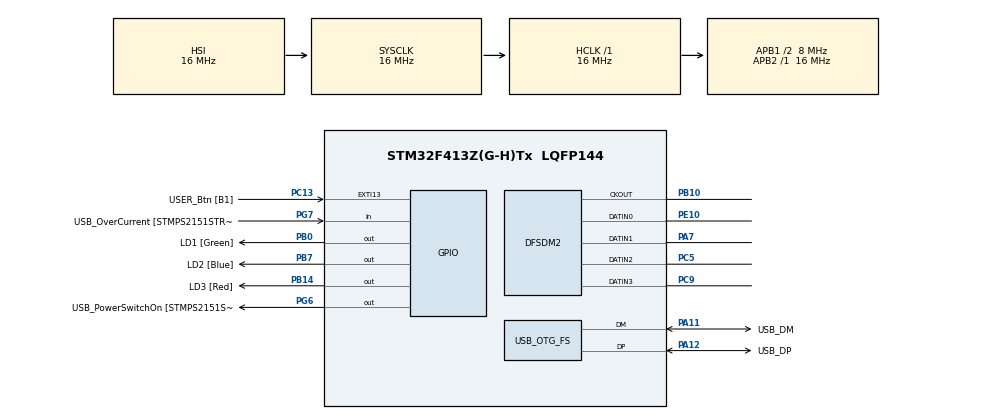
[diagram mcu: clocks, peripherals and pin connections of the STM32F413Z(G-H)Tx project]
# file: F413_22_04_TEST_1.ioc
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DFSDM2.Divider=8
DFSDM2.DmaMode_reg_FIL0=ENABLE
DFSDM2.DmaMode_reg_FIL1=ENABLE
DFSDM2.DmaMode_reg_FIL2=ENABLE
DFSDM2.DmaMode_reg_FIL3=ENABLE
DFSDM2.Filter_regChannel_FIL0=DFSDM_CHANNEL_0
DFSDM2.Filter_regChannel_FIL1=DFSDM_CHANNEL_1
DFSDM2.Filter_regChannel_FIL2=DFSDM_CHANNEL_2
DFSDM2.Filter_regChannel_FIL3=DFSDM_CHANNEL_3
DFSDM2.Fosr_FIL0=32
DFSDM2.Fosr_FIL1=32
DFSDM2.Fosr_FIL2=32
DFSDM2.Fosr_FIL3=32
DFSDM2.SincOrder_FIL0=DFSDM_FILTER_SINC3_ORDER
DFSDM2.SincOrder_FIL1=DFSDM_FILTER_SINC3_ORDER
DFSDM2.SincOrder_FIL2=DFSDM_FILTER_SINC3_ORDER
DFSDM2.SincOrder_FIL3=DFSDM_FILTER_SINC3_ORDER
DFSDM2.Type_spi_CH0=DFSDM_CHANNEL_SPI_FALLING
DFSDM2.Type_spi_CH2=DFSDM_CHANNEL_SPI_FALLING
Dma.DFSDM2_FLT0.0.Direction=DMA_PERIPH_TO_MEMORY
Dma.DFSDM2_FLT0.0.FIFOMode=DMA_FIFOMODE_DISABLE
Dma.DFSDM2_FLT0.0.Instance=DMA2_Stream0
Dma.DFSDM2_FLT0.0.MemDataAlignment=DMA_MDATAALIGN_WORD
Dma.DFSDM2_FLT0.0.MemInc=DMA_MINC_ENABLE
Dma.DFSDM2_FLT0.0.Mode=DMA_CIRCULAR
Dma.DFSDM2_FLT0.0.PeriphDataAlignment=DMA_PDATAALIGN_WORD
Dma.DFSDM2_FLT0.0.PeriphInc=DMA_PINC_DISABLE
Dma.DFSDM2_FLT0.0.Priority=DMA_PRIORITY_LOW
Dma.DFSDM2_FLT1.1.Direction=DMA_PERIPH_TO_MEMORY
Dma.DFSDM2_FLT1.1.FIFOMode=DMA_FIFOMODE_DISABLE
Dma.DFSDM2_FLT1.1.Instance=DMA2_Stream1
Dma.DFSDM2_FLT1.1.MemDataAlignment=DMA_MDATAALIGN_WORD
Dma.DFSDM2_FLT1.1.MemInc=DMA_MINC_ENABLE
Dma.DFSDM2_FLT1.1.Mode=DMA_CIRCULAR
Dma.DFSDM2_FLT1.1.PeriphDataAlignment=DMA_PDATAALIGN_WORD
Dma.DFSDM2_FLT1.1.PeriphInc=DMA_PINC_DISABLE
Dma.DFSDM2_FLT1.1.Priority=DMA_PRIORITY_LOW
Dma.DFSDM2_FLT2.2.Direction=DMA_PERIPH_TO_MEMORY
Dma.DFSDM2_FLT2.2.FIFOMode=DMA_FIFOMODE_DISABLE
Dma.DFSDM2_FLT2.2.Instance=DMA2_Stream2
Dma.DFSDM2_FLT2.2.MemDataAlignment=DMA_MDATAALIGN_WORD
Dma.DFSDM2_FLT2.2.MemInc=DMA_MINC_ENABLE
Dma.DFSDM2_FLT2.2.Mode=DMA_CIRCULAR
Dma.DFSDM2_FLT2.2.PeriphDataAlignment=DMA_PDATAALIGN_WORD
Dma.DFSDM2_FLT2.2.PeriphInc=DMA_PINC_DISABLE
Dma.DFSDM2_FLT2.2.Priority=DMA_PRIORITY_LOW
Dma.DFSDM2_FLT3.3.Direction=DMA_PERIPH_TO_MEMORY
Dma.DFSDM2_FLT3.3.FIFOMode=DMA_FIFOMODE_DISABLE
Dma.DFSDM2_FLT3.3.Instance=DMA2_Stream3
Dma.DFSDM2_FLT3.3.MemDataAlignment=DMA_MDATAALIGN_WORD
Dma.DFSDM2_FLT3.3.MemInc=DMA_MINC_ENABLE
Dma.DFSDM2_FLT3.3.Mode=DMA_CIRCULAR
Dma.DFSDM2_FLT3.3.PeriphDataAlignment=DMA_PDATAALIGN_WORD
Dma.DFSDM2_FLT3.3.PeriphInc=DMA_PINC_DISABLE
Dma.DFSDM2_FLT3.3.Priority=DMA_PRIORITY_LOW
Dma.Request0=DFSDM2_FLT0
Dma.Request1=DFSDM2_FLT1
Dma.Request2=DFSDM2_FLT2
Dma.Request3=DFSDM2_FLT3
Mcu.Family=STM32F4
Mcu.Name=STM32F413Z(G-H)Tx
Mcu.Package=LQFP144
NVIC.DMA2_Stream0_IRQn=true\:0\:0\:false\:false\:true\:false\:true\:true
NVIC.DMA2_Stream1_IRQn=true\:0\:0\:false\:false\:true\:false\:true\:true
NVIC.DMA2_Stream2_IRQn=true\:0\:0\:false\:false\:true\:false\:true\:true
NVIC.DMA2_Stream3_IRQn=true\:0\:0\:false\:false\:true\:false\:true\:true
NVIC.OTG_FS_IRQn=true\:0\:0\:false\:false\:true\:false\:true\:true
NVIC.PriorityGroup=NVIC_PRIORITYGROUP_4
PA10.GPIO_Label=USB_ID
PA10.Signal=USB_OTG_FS_ID
PA11.GPIO_Label=USB_DM
PA11.Mode=Device_Only
PA11.Signal=USB_OTG_FS_DM
PA12.GPIO_Label=USB_DP
PA12.Mode=Device_Only
PA12.Signal=USB_OTG_FS_DP
PA13.GPIO_Label=TMS
PA13.Mode=Trace_Asynchronous_SW
PA13.Signal=SYS_JTMS-SWDIO
PA14.GPIO_Label=TCK
PA14.Mode=Trace_Asynchronous_SW
PA14.Signal=SYS_JTCK-SWCLK
PA7.Signal=S_DATAIN1DFSDM2
PA8.GPIO_Label=USB_SOF [TP1]
PA8.Signal=USB_OTG_FS_SOF
PA9.GPIO_Label=USB_VBUS
PA9.Signal=USB_OTG_FS_VBUS
PB0.GPIO_Label=LD1 [Green]
PB0.Signal=GPIO_Output
PB10.Signal=S_CKOUTDFSDM2
PB14.GPIO_Label=LD3 [Red]
PB14.Signal=GPIO_Output
PB3.GPIO_Label=SWO
PB3.Mode=Trace_Asynchronous_SW
PB3.Signal=SYS_JTDO-SWO
PB7.GPIO_Label=LD2 [Blue]
PB7.Signal=GPIO_Output
PC13.GPIO_Label=USER_Btn [B1]
PC13.Signal=GPXTI13
PC14-OSC32_IN.Signal=RCC_OSC32_IN
PC15-OSC32_OUT.Signal=RCC_OSC32_OUT
PC5.Signal=S_DATAIN2DFSDM2
PC9.Signal=S_DATAIN3DFSDM2
PD8.GPIO_Label=STLK_RX [STM32F103CBT6_PA3]
PD8.Signal=USART3_TX
PD9.GPIO_Label=STLK_TX [STM32F103CBT6_PA2]
PD9.Signal=USART3_RX
PE10.Signal=S_DATAIN0DFSDM2
PG6.GPIO_Label=USB_PowerSwitchOn [STMPS2151STR_EN]
PG6.Signal=GPIO_Output
PG7.GPIO_Label=USB_OverCurrent [STMPS2151STR_FAULT]
PG7.Signal=GPIO_Input
PH0\ -\ OSC_IN.GPIO_Label=MCO
PH0\ -\ OSC_IN.Mode=HSE-External-Clock-Source
PH0\ -\ OSC_IN.Signal=RCC_OSC_IN
PH1\ -\ OSC_OUT.Mode=HSE-External-Clock-Source
PH1\ -\ OSC_OUT.Signal=RCC_OSC_OUT
ProjectManager.HeapSize=0x200
ProjectManager.StackSize=0x400
ProjectManager.TargetToolchain=STM32CubeIDE
RCC.48MHZClocksFreq_Value=24000000
RCC.AHBFreq_Value=16000000
RCC.APB1CLKDivider=RCC_HCLK_DIV2
RCC.APB1Freq_Value=8000000
RCC.APB1TimFreq_Value=16000000
RCC.APB2Freq_Value=16000000
RCC.APB2TimFreq_Value=16000000
RCC.CortexFreq_Value=16000000
RCC.HCLKFreq_Value=16000000
RCC.HSE_VALUE=8000000
RCC.HSI_VALUE=16000000
RCC.PLLM=4
RCC.PLLMUL=RCC_PLL_MUL9
RCC.PLLQ=8
RCC.PRESCALERUSB=RCC_USBCLKSOURCE_PLL_DIV1_5
RCC.SYSCLKFreq_VALUE=16000000
RCC.SYSCLKSourceVirtual=RCC_SYSCLKSOURCE_PLLCLK
RCC.USBFreq_Value=48000000
RCC.VCOOutputFreq_Value=384000000
SH.S_CKOUTDFSDM2.0=DFSDM2_CKOUT,PDM_SPI_input_from_ch0_and_internal_clock
SH.S_CKOUTDFSDM2.1=DFSDM2_CKOUT,PDM_SPI_input_from_ch1_and_internal_clock
SH.S_CKOUTDFSDM2.2=DFSDM2_CKOUT,PDM_SPI_input_from_ch2_and_internal_clock
SH.S_CKOUTDFSDM2.3=DFSDM2_CKOUT,PDM_SPI_input_from_ch3_and_internal_clock
SH.S_CKOUTDFSDM2.4=DFSDM2_CKOUT,CKOUT
SH.S_DATAIN0DFSDM2.0=DFSDM2_DATIN0,PDM_SPI_input_from_ch0_and_internal_clock
SH.S_DATAIN1DFSDM2.0=DFSDM2_DATIN1,PDM_SPI_input_from_ch1_and_internal_clock
SH.S_DATAIN2DFSDM2.0=DFSDM2_DATIN2,PDM_SPI_input_from_ch2_and_internal_clock
SH.S_DATAIN3DFSDM2.0=DFSDM2_DATIN3,PDM_SPI_input_from_ch3_and_internal_clock
USB_DEVICE.CLASS_NAME_FS=CDC
USB_DEVICE.VirtualMode=Cdc
USB_DEVICE.VirtualModeFS=Cdc_FS
USB_OTG_FS.VirtualMode=Device_Only
VP_CRC_VS_CRC.Mode=CRC_Activate
VP_USB_DEVICE_VS_USB_DEVICE_CDC_FS.Mode=CDC_FS
board=NUCLEO-F413ZH

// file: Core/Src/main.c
/* USER CODE BEGIN Header */
/**
  ******************************************************************************
  * @file           : main.c
  * @brief          : Main program body
  ******************************************************************************
  * @attention
  *
  * Copyright (c) 2026 STMicroelectronics.
  * All rights reserved.
  *
  * This software is licensed under terms that can be found in the LICENSE file
  * in the root directory of this software component.
  * If no LICENSE file comes with this software, it is provided AS-IS.
  *
  ******************************************************************************
  */
/* USER CODE END Header */
#include "main.h"
#include "usb_device.h"

/* USER CODE BEGIN Includes */
#include <string.h>
#include "usbd_cdc_if.h"
/* USER CODE END Includes */

CRC_HandleTypeDef hcrc;

DFSDM_Filter_HandleTypeDef hdfsdm2_filter0;
DFSDM_Filter_HandleTypeDef hdfsdm2_filter1;
DFSDM_Filter_HandleTypeDef hdfsdm2_filter2;
DFSDM_Filter_HandleTypeDef hdfsdm2_filter3;
DFSDM_Channel_HandleTypeDef hdfsdm2_channel0;
DFSDM_Channel_HandleTypeDef hdfsdm2_channel1;
DFSDM_Channel_HandleTypeDef hdfsdm2_channel2;
DFSDM_Channel_HandleTypeDef hdfsdm2_channel3;
DMA_HandleTypeDef hdma_dfsdm2_flt0;
DMA_HandleTypeDef hdma_dfsdm2_flt1;
DMA_HandleTypeDef hdma_dfsdm2_flt2;
DMA_HandleTypeDef hdma_dfsdm2_flt3;

/* USER CODE BEGIN PV */
#define PCM_SAMPLES_PER_HALF  16
#define DFSDM_DMA_SAMPLES     (PCM_SAMPLES_PER_HALF * 2) //(PCM_SAMPLES_PER_HALF * 2)
#define USB_SYNC_0            0x5A
#define USB_SYNC_1            0xA5

static int32_t pcm0_dma[DFSDM_DMA_SAMPLES];
static int32_t pcm1_dma[DFSDM_DMA_SAMPLES];
static int32_t pcm2_dma[DFSDM_DMA_SAMPLES];
static int32_t pcm3_dma[DFSDM_DMA_SAMPLES];

static volatile uint8_t flt0_half_ready = 0;
static volatile uint8_t flt0_full_ready = 0;
static volatile uint8_t flt1_half_ready = 0;
static volatile uint8_t flt1_full_ready = 0;
static volatile uint8_t flt2_half_ready = 0;
static volatile uint8_t flt2_full_ready = 0;
static volatile uint8_t flt3_half_ready = 0;
static volatile uint8_t flt3_full_ready = 0;

static uint8_t usb_tx_busy = 0;

/* sync + 16 samples mic0 + 16 samples mic1, interleaved int16 */
static uint8_t usb_frame[2 + PCM_SAMPLES_PER_HALF * 4 * 2]; //usb_frame[2 + PCM_SAMPLES_PER_HALF * 4 * 2];

/* test */
static volatile uint32_t cb_half0 = 0;
static volatile uint32_t cb_full0 = 0;
static volatile uint32_t cb_half1 = 0;
static volatile uint32_t cb_full1 = 0;
static volatile uint32_t cb_half2 = 0;
static volatile uint32_t cb_full2 = 0;
static volatile uint32_t cb_half3 = 0;
static volatile uint32_t cb_full3 = 0;

/* USER CODE END PV */

void SystemClock_Config(void);
static void MX_GPIO_Init(void);
static void MX_DMA_Init(void);
static void MX_CRC_Init(void);
static void MX_DFSDM2_Init(void);
/* USER CODE BEGIN PFP */
static void PackAndSendFrame(uint8_t half_index);
static int16_t DFSDM32_to_PCM16(int32_t x);
/* USER CODE END PFP */

/* USER CODE BEGIN 0 */
static int16_t DFSDM32_to_PCM16(int32_t x)
{
    x >>= 8;

    if (x > 32767)  x = 32767;
    if (x < -32768) x = -32768;
    return (int16_t)x;
}

// used for troubleshooting

static volatile uint32_t usb_ok_cnt = 0;
static volatile uint32_t usb_busy_cnt = 0;
static volatile uint32_t usb_fail_cnt = 0;
static volatile uint8_t last_tx_ret = 0;

static void PackAndSendFrame(uint8_t half_index)
{
    uint32_t start = (half_index == 0) ? 0 : PCM_SAMPLES_PER_HALF;

    usb_frame[0] = USB_SYNC_0;
    usb_frame[1] = USB_SYNC_1;

    uint32_t j = 2;
    for (uint32_t i = 0; i < PCM_SAMPLES_PER_HALF; i++)
    {
        int16_t mic0 = DFSDM32_to_PCM16(pcm0_dma[start + i]);
        int16_t mic1 = DFSDM32_to_PCM16(pcm1_dma[start + i]);
        int16_t mic2 = DFSDM32_to_PCM16(pcm2_dma[start + i]);
        int16_t mic3 = DFSDM32_to_PCM16(pcm3_dma[start + i]);

        usb_frame[j++] = (uint8_t)(mic0 & 0xFF);
        usb_frame[j++] = (uint8_t)((mic0 >> 8) & 0xFF);
        usb_frame[j++] = (uint8_t)(mic1 & 0xFF);
        usb_frame[j++] = (uint8_t)((mic1 >> 8) & 0xFF);
        usb_frame[j++] = (uint8_t)(mic2 & 0xFF);
        usb_frame[j++] = (uint8_t)((mic2 >> 8) & 0xFF);
        usb_frame[j++] = (uint8_t)(mic3 & 0xFF);
        usb_frame[j++] = (uint8_t)((mic3 >> 8) & 0xFF);
    }

    CDC_Transmit_FS(usb_frame, sizeof(usb_frame));
}

void CDC_TransmitCplt_FS(uint8_t *Buf, uint32_t *Len, uint8_t epnum)
{
    (void)Buf;
    (void)Len;
    (void)epnum;
    usb_tx_busy = 0;
}
/* USER CODE END 0 */

int main(void)
{

  /* MCU Configuration--------------------------------------------------------*/

  /* Reset of all peripherals, Initializes the Flash interface and the Systick. */
  HAL_Init();

  /* Configure the system clock */
  SystemClock_Config();

  /* Initialize all configured peripherals */
  MX_GPIO_Init();
  MX_DMA_Init();
  MX_CRC_Init();
  MX_USB_DEVICE_Init();
  MX_DFSDM2_Init();
  /* USER CODE BEGIN 2 */

  if (HAL_DFSDM_FilterConfigRegChannel(&hdfsdm2_filter0,
                                       DFSDM_CHANNEL_0,
                                       DFSDM_CONTINUOUS_CONV_ON) != HAL_OK)
  {
      Error_Handler();
  }

  if (HAL_DFSDM_FilterConfigRegChannel(&hdfsdm2_filter1,
                                       DFSDM_CHANNEL_1,
                                       DFSDM_CONTINUOUS_CONV_ON) != HAL_OK)
  {
      Error_Handler();
  }
  if (HAL_DFSDM_FilterConfigRegChannel(&hdfsdm2_filter2,
                                         DFSDM_CHANNEL_2,
                                         DFSDM_CONTINUOUS_CONV_ON) != HAL_OK)
    {
        Error_Handler();
    }

    if (HAL_DFSDM_FilterConfigRegChannel(&hdfsdm2_filter3,
                                         DFSDM_CHANNEL_3,
                                         DFSDM_CONTINUOUS_CONV_ON) != HAL_OK)
    {
        Error_Handler();
    }

  if (HAL_DFSDM_FilterRegularStart_DMA(&hdfsdm2_filter0, pcm0_dma, DFSDM_DMA_SAMPLES) != HAL_OK)
  {
      Error_Handler();
  }

  if (HAL_DFSDM_FilterRegularStart_DMA(&hdfsdm2_filter1, pcm1_dma, DFSDM_DMA_SAMPLES) != HAL_OK)
  {
      Error_Handler();
  }
  if (HAL_DFSDM_FilterRegularStart_DMA(&hdfsdm2_filter2, pcm2_dma, DFSDM_DMA_SAMPLES) != HAL_OK)
    {
        Error_Handler();
    }

    if (HAL_DFSDM_FilterRegularStart_DMA(&hdfsdm2_filter3, pcm3_dma, DFSDM_DMA_SAMPLES) != HAL_OK)
    {
        Error_Handler();
    }

  /* USER CODE END 2 */

  /* Infinite loop */
  /* USER CODE BEGIN WHILE */
  while (1)
  {
	      if (flt0_half_ready && flt1_half_ready && flt2_half_ready && flt3_half_ready)
	      {
	          flt0_half_ready = 0;
	          flt1_half_ready = 0;
	          flt2_half_ready = 0;
	          flt3_half_ready = 0;
	          PackAndSendFrame(0);
	      }

	      if (flt0_full_ready && flt1_full_ready && flt2_full_ready && flt3_full_ready)
	      {
	    	  flt0_full_ready = 0;
	    	  flt1_full_ready = 0;
	    	  flt2_full_ready = 0;
	    	  flt3_full_ready = 0;
	          PackAndSendFrame(1);
	      }

    /* USER CODE END WHILE */

  }
}

void SystemClock_Config(void)
{
  RCC_OscInitTypeDef RCC_OscInitStruct = {0};
  RCC_ClkInitTypeDef RCC_ClkInitStruct = {0};

  /** Configure the main internal regulator output voltage
  */
  __HAL_RCC_PWR_CLK_ENABLE();
  __HAL_PWR_VOLTAGESCALING_CONFIG(PWR_REGULATOR_VOLTAGE_SCALE1);

  /** Initializes the RCC Oscillators according to the specified parameters
  * in the RCC_OscInitTypeDef structure.
  */
  RCC_OscInitStruct.OscillatorType = RCC_OSCILLATORTYPE_HSI|RCC_OSCILLATORTYPE_HSE;
  RCC_OscInitStruct.HSEState = RCC_HSE_BYPASS;
  RCC_OscInitStruct.HSIState = RCC_HSI_ON;
  RCC_OscInitStruct.HSICalibrationValue = RCC_HSICALIBRATION_DEFAULT;
  RCC_OscInitStruct.PLL.PLLState = RCC_PLL_ON;
  RCC_OscInitStruct.PLL.PLLSource = RCC_PLLSOURCE_HSE;
  RCC_OscInitStruct.PLL.PLLM = 4;
  RCC_OscInitStruct.PLL.PLLN = 192;
  RCC_OscInitStruct.PLL.PLLP = RCC_PLLP_DIV2;
  RCC_OscInitStruct.PLL.PLLQ = 8;
  RCC_OscInitStruct.PLL.PLLR = 2;
  if (HAL_RCC_OscConfig(&RCC_OscInitStruct) != HAL_OK)
  {
    Error_Handler();
  }

  /** Initializes the CPU, AHB and APB buses clocks
  */
  RCC_ClkInitStruct.ClockType = RCC_CLOCKTYPE_HCLK|RCC_CLOCKTYPE_SYSCLK
                              |RCC_CLOCKTYPE_PCLK1|RCC_CLOCKTYPE_PCLK2;
  RCC_ClkInitStruct.SYSCLKSource = RCC_SYSCLKSOURCE_HSI;
  RCC_ClkInitStruct.AHBCLKDivider = RCC_SYSCLK_DIV1;
  RCC_ClkInitStruct.APB1CLKDivider = RCC_HCLK_DIV2;
  RCC_ClkInitStruct.APB2CLKDivider = RCC_HCLK_DIV1;

  if (HAL_RCC_ClockConfig(&RCC_ClkInitStruct, FLASH_LATENCY_0) != HAL_OK)
  {
    Error_Handler();
  }
}

static void MX_CRC_Init(void)
{

  hcrc.Instance = CRC;
  if (HAL_CRC_Init(&hcrc) != HAL_OK)
  {
    Error_Handler();
  }

}

static void MX_DFSDM2_Init(void)
{

  hdfsdm2_filter0.Instance = DFSDM2_Filter0;
  hdfsdm2_filter0.Init.RegularParam.Trigger = DFSDM_FILTER_SW_TRIGGER;
  hdfsdm2_filter0.Init.RegularParam.FastMode = DISABLE;
  hdfsdm2_filter0.Init.RegularParam.DmaMode = ENABLE;
  hdfsdm2_filter0.Init.FilterParam.SincOrder = DFSDM_FILTER_SINC3_ORDER;
  hdfsdm2_filter0.Init.FilterParam.Oversampling = 32;
  hdfsdm2_filter0.Init.FilterParam.IntOversampling = 1;
  if (HAL_DFSDM_FilterInit(&hdfsdm2_filter0) != HAL_OK)
  {
    Error_Handler();
  }
  hdfsdm2_filter1.Instance = DFSDM2_Filter1;
  hdfsdm2_filter1.Init.RegularParam.Trigger = DFSDM_FILTER_SW_TRIGGER;
  hdfsdm2_filter1.Init.RegularParam.FastMode = DISABLE;
  hdfsdm2_filter1.Init.RegularParam.DmaMode = ENABLE;
  hdfsdm2_filter1.Init.FilterParam.SincOrder = DFSDM_FILTER_SINC3_ORDER;
  hdfsdm2_filter1.Init.FilterParam.Oversampling = 32;
  hdfsdm2_filter1.Init.FilterParam.IntOversampling = 1;
  if (HAL_DFSDM_FilterInit(&hdfsdm2_filter1) != HAL_OK)
  {
    Error_Handler();
  }
  hdfsdm2_filter2.Instance = DFSDM2_Filter2;
  hdfsdm2_filter2.Init.RegularParam.Trigger = DFSDM_FILTER_SW_TRIGGER;
  hdfsdm2_filter2.Init.RegularParam.FastMode = DISABLE;
  hdfsdm2_filter2.Init.RegularParam.DmaMode = ENABLE;
  hdfsdm2_filter2.Init.FilterParam.SincOrder = DFSDM_FILTER_SINC3_ORDER;
  hdfsdm2_filter2.Init.FilterParam.Oversampling = 32;
  hdfsdm2_filter2.Init.FilterParam.IntOversampling = 1;
  if (HAL_DFSDM_FilterInit(&hdfsdm2_filter2) != HAL_OK)
  {
    Error_Handler();
  }
  hdfsdm2_filter3.Instance = DFSDM2_Filter3;
  hdfsdm2_filter3.Init.RegularParam.Trigger = DFSDM_FILTER_SW_TRIGGER;
  hdfsdm2_filter3.Init.RegularParam.FastMode = DISABLE;
  hdfsdm2_filter3.Init.RegularParam.DmaMode = ENABLE;
  hdfsdm2_filter3.Init.FilterParam.SincOrder = DFSDM_FILTER_SINC3_ORDER;
  hdfsdm2_filter3.Init.FilterParam.Oversampling = 32;
  hdfsdm2_filter3.Init.FilterParam.IntOversampling = 1;
  if (HAL_DFSDM_FilterInit(&hdfsdm2_filter3) != HAL_OK)
  {
    Error_Handler();
  }
  hdfsdm2_channel0.Instance = DFSDM2_Channel0;
  hdfsdm2_channel0.Init.OutputClock.Activation = ENABLE;
  hdfsdm2_channel0.Init.OutputClock.Selection = DFSDM_CHANNEL_OUTPUT_CLOCK_SYSTEM;
  hdfsdm2_channel0.Init.OutputClock.Divider = 8;
  hdfsdm2_channel0.Init.Input.Multiplexer = DFSDM_CHANNEL_EXTERNAL_INPUTS;
  hdfsdm2_channel0.Init.Input.DataPacking = DFSDM_CHANNEL_STANDARD_MODE;
  hdfsdm2_channel0.Init.Input.Pins = DFSDM_CHANNEL_SAME_CHANNEL_PINS;
  hdfsdm2_channel0.Init.SerialInterface.Type = DFSDM_CHANNEL_SPI_FALLING;
  hdfsdm2_channel0.Init.SerialInterface.SpiClock = DFSDM_CHANNEL_SPI_CLOCK_INTERNAL;
  hdfsdm2_channel0.Init.Awd.FilterOrder = DFSDM_CHANNEL_FASTSINC_ORDER;
  hdfsdm2_channel0.Init.Awd.Oversampling = 1;
  hdfsdm2_channel0.Init.Offset = 0;
  hdfsdm2_channel0.Init.RightBitShift = 0x00;
  if (HAL_DFSDM_ChannelInit(&hdfsdm2_channel0) != HAL_OK)
  {
    Error_Handler();
  }
  hdfsdm2_channel1.Instance = DFSDM2_Channel1;
  hdfsdm2_channel1.Init.OutputClock.Activation = ENABLE;
  hdfsdm2_channel1.Init.OutputClock.Selection = DFSDM_CHANNEL_OUTPUT_CLOCK_SYSTEM;
  hdfsdm2_channel1.Init.OutputClock.Divider = 8;
  hdfsdm2_channel1.Init.Input.Multiplexer = DFSDM_CHANNEL_EXTERNAL_INPUTS;
  hdfsdm2_channel1.Init.Input.DataPacking = DFSDM_CHANNEL_STANDARD_MODE;
  hdfsdm2_channel1.Init.Input.Pins = DFSDM_CHANNEL_SAME_CHANNEL_PINS;
  hdfsdm2_channel1.Init.SerialInterface.Type = DFSDM_CHANNEL_SPI_RISING;
  hdfsdm2_channel1.Init.SerialInterface.SpiClock = DFSDM_CHANNEL_SPI_CLOCK_INTERNAL;
  hdfsdm2_channel1.Init.Awd.FilterOrder = DFSDM_CHANNEL_FASTSINC_ORDER;
  hdfsdm2_channel1.Init.Awd.Oversampling = 1;
  hdfsdm2_channel1.Init.Offset = 0;
  hdfsdm2_channel1.Init.RightBitShift = 0x00;
  if (HAL_DFSDM_ChannelInit(&hdfsdm2_channel1) != HAL_OK)
  {
    Error_Handler();
  }
  hdfsdm2_channel2.Instance = DFSDM2_Channel2;
  hdfsdm2_channel2.Init.OutputClock.Activation = ENABLE;
  hdfsdm2_channel2.Init.OutputClock.Selection = DFSDM_CHANNEL_OUTPUT_CLOCK_SYSTEM;
  hdfsdm2_channel2.Init.OutputClock.Divider = 8;
  hdfsdm2_channel2.Init.Input.Multiplexer = DFSDM_CHANNEL_EXTERNAL_INPUTS;
  hdfsdm2_channel2.Init.Input.DataPacking = DFSDM_CHANNEL_STANDARD_MODE;
  hdfsdm2_channel2.Init.Input.Pins = DFSDM_CHANNEL_SAME_CHANNEL_PINS;
  hdfsdm2_channel2.Init.SerialInterface.Type = DFSDM_CHANNEL_SPI_FALLING;
  hdfsdm2_channel2.Init.SerialInterface.SpiClock = DFSDM_CHANNEL_SPI_CLOCK_INTERNAL;
  hdfsdm2_channel2.Init.Awd.FilterOrder = DFSDM_CHANNEL_FASTSINC_ORDER;
  hdfsdm2_channel2.Init.Awd.Oversampling = 1;
  hdfsdm2_channel2.Init.Offset = 0;
  hdfsdm2_channel2.Init.RightBitShift = 0x00;
  if (HAL_DFSDM_ChannelInit(&hdfsdm2_channel2) != HAL_OK)
  {
    Error_Handler();
  }
  hdfsdm2_channel3.Instance = DFSDM2_Channel3;
  hdfsdm2_channel3.Init.OutputClock.Activation = ENABLE;
  hdfsdm2_channel3.Init.OutputClock.Selection = DFSDM_CHANNEL_OUTPUT_CLOCK_SYSTEM;
  hdfsdm2_channel3.Init.OutputClock.Divider = 8;
  hdfsdm2_channel3.Init.Input.Multiplexer = DFSDM_CHANNEL_EXTERNAL_INPUTS;
  hdfsdm2_channel3.Init.Input.DataPacking = DFSDM_CHANNEL_STANDARD_MODE;
  hdfsdm2_channel3.Init.Input.Pins = DFSDM_CHANNEL_SAME_CHANNEL_PINS;
  hdfsdm2_channel3.Init.SerialInterface.Type = DFSDM_CHANNEL_SPI_RISING;
  hdfsdm2_channel3.Init.SerialInterface.SpiClock = DFSDM_CHANNEL_SPI_CLOCK_INTERNAL;
  hdfsdm2_channel3.Init.Awd.FilterOrder = DFSDM_CHANNEL_FASTSINC_ORDER;
  hdfsdm2_channel3.Init.Awd.Oversampling = 1;
  hdfsdm2_channel3.Init.Offset = 0;
  hdfsdm2_channel3.Init.RightBitShift = 0x00;
  if (HAL_DFSDM_ChannelInit(&hdfsdm2_channel3) != HAL_OK)
  {
    Error_Handler();
  }
  if (HAL_DFSDM_FilterConfigRegChannel(&hdfsdm2_filter0, DFSDM_CHANNEL_0, DFSDM_CONTINUOUS_CONV_ON) != HAL_OK)
  {
    Error_Handler();
  }
  if (HAL_DFSDM_FilterConfigRegChannel(&hdfsdm2_filter1, DFSDM_CHANNEL_1, DFSDM_CONTINUOUS_CONV_ON) != HAL_OK)
  {
    Error_Handler();
  }
  if (HAL_DFSDM_FilterConfigRegChannel(&hdfsdm2_filter2, DFSDM_CHANNEL_2, DFSDM_CONTINUOUS_CONV_ON) != HAL_OK)
  {
    Error_Handler();
  }
  if (HAL_DFSDM_FilterConfigRegChannel(&hdfsdm2_filter3, DFSDM_CHANNEL_3, DFSDM_CONTINUOUS_CONV_ON) != HAL_OK)
  {
    Error_Handler();
  }

}

static void MX_DMA_Init(void)
{

  /* DMA controller clock enable */
  __HAL_RCC_DMA2_CLK_ENABLE();

  /* DMA interrupt init */
  /* DMA2_Stream0_IRQn interrupt configuration */
  HAL_NVIC_SetPriority(DMA2_Stream0_IRQn, 0, 0);
  HAL_NVIC_EnableIRQ(DMA2_Stream0_IRQn);
  /* DMA2_Stream1_IRQn interrupt configuration */
  HAL_NVIC_SetPriority(DMA2_Stream1_IRQn, 0, 0);
  HAL_NVIC_EnableIRQ(DMA2_Stream1_IRQn);
  /* DMA2_Stream2_IRQn interrupt configuration */
  HAL_NVIC_SetPriority(DMA2_Stream2_IRQn, 0, 0);
  HAL_NVIC_EnableIRQ(DMA2_Stream2_IRQn);
  /* DMA2_Stream3_IRQn interrupt configuration */
  HAL_NVIC_SetPriority(DMA2_Stream3_IRQn, 0, 0);
  HAL_NVIC_EnableIRQ(DMA2_Stream3_IRQn);

}

static void MX_GPIO_Init(void)
{
  GPIO_InitTypeDef GPIO_InitStruct = {0};

  /* GPIO Ports Clock Enable */
  __HAL_RCC_GPIOC_CLK_ENABLE();
  __HAL_RCC_GPIOH_CLK_ENABLE();
  __HAL_RCC_GPIOA_CLK_ENABLE();
  __HAL_RCC_GPIOB_CLK_ENABLE();
  __HAL_RCC_GPIOE_CLK_ENABLE();
  __HAL_RCC_GPIOD_CLK_ENABLE();
  __HAL_RCC_GPIOG_CLK_ENABLE();

  /*Configure GPIO pin Output Level */
  HAL_GPIO_WritePin(GPIOB, LD1_Pin|LD3_Pin|LD2_Pin, GPIO_PIN_RESET);

  /*Configure GPIO pin Output Level */
  HAL_GPIO_WritePin(USB_PowerSwitchOn_GPIO_Port, USB_PowerSwitchOn_Pin, GPIO_PIN_RESET);

  /*Configure GPIO pin : USER_Btn_Pin */
  GPIO_InitStruct.Pin = USER_Btn_Pin;
  GPIO_InitStruct.Mode = GPIO_MODE_IT_RISING;
  GPIO_InitStruct.Pull = GPIO_NOPULL;
  HAL_GPIO_Init(USER_Btn_GPIO_Port, &GPIO_InitStruct);

  /*Configure GPIO pins : LD1_Pin LD3_Pin LD2_Pin */
  GPIO_InitStruct.Pin = LD1_Pin|LD3_Pin|LD2_Pin;
  GPIO_InitStruct.Mode = GPIO_MODE_OUTPUT_PP;
  GPIO_InitStruct.Pull = GPIO_NOPULL;
  GPIO_InitStruct.Speed = GPIO_SPEED_FREQ_LOW;
  HAL_GPIO_Init(GPIOB, &GPIO_InitStruct);

  /*Configure GPIO pins : STLK_RX_Pin STLK_TX_Pin */
  GPIO_InitStruct.Pin = STLK_RX_Pin|STLK_TX_Pin;
  GPIO_InitStruct.Mode = GPIO_MODE_AF_PP;
  GPIO_InitStruct.Pull = GPIO_NOPULL;
  GPIO_InitStruct.Speed = GPIO_SPEED_FREQ_VERY_HIGH;
  GPIO_InitStruct.Alternate = GPIO_AF7_USART3;
  HAL_GPIO_Init(GPIOD, &GPIO_InitStruct);

  /*Configure GPIO pin : USB_PowerSwitchOn_Pin */
  GPIO_InitStruct.Pin = USB_PowerSwitchOn_Pin;
  GPIO_InitStruct.Mode = GPIO_MODE_OUTPUT_PP;
  GPIO_InitStruct.Pull = GPIO_NOPULL;
  GPIO_InitStruct.Speed = GPIO_SPEED_FREQ_LOW;
  HAL_GPIO_Init(USB_PowerSwitchOn_GPIO_Port, &GPIO_InitStruct);

  /*Configure GPIO pin : USB_OverCurrent_Pin */
  GPIO_InitStruct.Pin = USB_OverCurrent_Pin;
  GPIO_InitStruct.Mode = GPIO_MODE_INPUT;
  GPIO_InitStruct.Pull = GPIO_NOPULL;
  HAL_GPIO_Init(USB_OverCurrent_GPIO_Port, &GPIO_InitStruct);

}

/* USER CODE BEGIN 4 */
void HAL_DFSDM_FilterRegConvHalfCpltCallback(DFSDM_Filter_HandleTypeDef *hdfsdm_filter)
{
    if (hdfsdm_filter->Instance == DFSDM2_Filter0) { flt0_half_ready = 1; cb_half0++; }
    if (hdfsdm_filter->Instance == DFSDM2_Filter1) { flt1_half_ready = 1; cb_half1++; }
    if (hdfsdm_filter->Instance == DFSDM2_Filter2) { flt2_half_ready = 1; cb_half2++; }
    if (hdfsdm_filter->Instance == DFSDM2_Filter3) { flt3_half_ready = 1; cb_half3++; }
}

void HAL_DFSDM_FilterRegConvCpltCallback(DFSDM_Filter_HandleTypeDef *hdfsdm_filter)
{
    if (hdfsdm_filter->Instance == DFSDM2_Filter0) { flt0_full_ready = 1; cb_full0++; }
    if (hdfsdm_filter->Instance == DFSDM2_Filter1) { flt1_full_ready = 1; cb_full1++; }
    if (hdfsdm_filter->Instance == DFSDM2_Filter2) { flt2_full_ready = 1; cb_full2++; }
    if (hdfsdm_filter->Instance == DFSDM2_Filter3) { flt3_full_ready = 1; cb_full3++; }
}

/* USER CODE END 4 */

void Error_Handler(void)
{
  __disable_irq();
  while (1)
  {
  }
}
